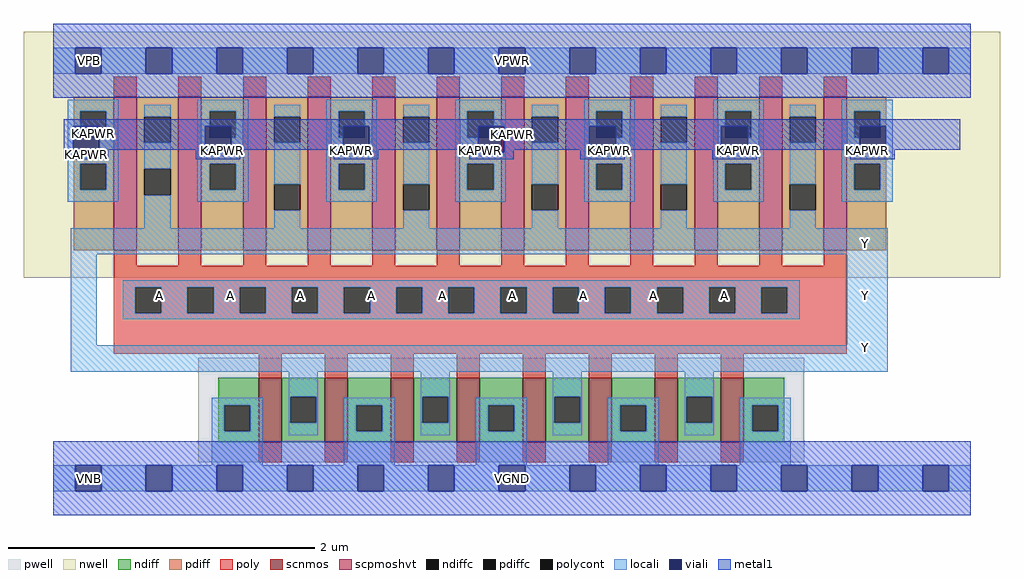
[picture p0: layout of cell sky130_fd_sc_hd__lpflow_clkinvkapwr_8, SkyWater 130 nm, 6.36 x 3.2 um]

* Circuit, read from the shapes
.subckt sky130_fd_sc_hd__lpflow_clkinvkapwr_8 A KAPWR VGND VNB VPB VPWR Y
XM1 Y A VGND VNB sky130_fd_pr__nfet_01v8 w=0.42 l=0.15 m=8
XM2 Y A KAPWR VPB sky130_fd_pr__pfet_01v8_hvt w=1 l=0.15 m=12
.ends

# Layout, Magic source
magic
tech sky130A
magscale 1 2
<< nwell >>
rect -38 261 1234 582
<< pwell >>
rect 189 21 979 157
rect 30 -17 64 17
<< scnmos >>
rect 268 47 298 131
rect 354 47 384 131
rect 440 47 470 131
rect 526 47 556 131
rect 612 47 642 131
rect 698 47 728 131
rect 784 47 814 131
rect 870 47 900 131
<< scpmoshvt >>
rect 79 297 109 497
rect 163 297 193 497
rect 248 297 278 497
rect 332 297 362 497
rect 416 297 446 497
rect 500 297 530 497
rect 584 297 614 497
rect 668 297 698 497
rect 752 297 782 497
rect 836 297 866 497
rect 920 297 950 497
rect 1004 297 1034 497
<< ndiff >>
rect 215 95 268 131
rect 215 61 223 95
rect 257 61 268 95
rect 215 47 268 61
rect 298 106 354 131
rect 298 72 309 106
rect 343 72 354 106
rect 298 47 354 72
rect 384 95 440 131
rect 384 61 395 95
rect 429 61 440 95
rect 384 47 440 61
rect 470 106 526 131
rect 470 72 481 106
rect 515 72 526 106
rect 470 47 526 72
rect 556 95 612 131
rect 556 61 567 95
rect 601 61 612 95
rect 556 47 612 61
rect 642 106 698 131
rect 642 72 653 106
rect 687 72 698 106
rect 642 47 698 72
rect 728 95 784 131
rect 728 61 739 95
rect 773 61 784 95
rect 728 47 784 61
rect 814 106 870 131
rect 814 72 825 106
rect 859 72 870 106
rect 814 47 870 72
rect 900 95 953 131
rect 900 61 911 95
rect 945 61 953 95
rect 900 47 953 61
<< pdiff >>
rect 27 478 79 497
rect 27 444 35 478
rect 69 444 79 478
rect 27 410 79 444
rect 27 376 35 410
rect 69 376 79 410
rect 27 297 79 376
rect 109 471 163 497
rect 109 437 119 471
rect 153 437 163 471
rect 109 403 163 437
rect 109 369 119 403
rect 153 369 163 403
rect 109 297 163 369
rect 193 478 248 497
rect 193 444 204 478
rect 238 444 248 478
rect 193 410 248 444
rect 193 376 204 410
rect 238 376 248 410
rect 193 297 248 376
rect 278 471 332 497
rect 278 437 288 471
rect 322 437 332 471
rect 278 383 332 437
rect 278 349 288 383
rect 322 349 332 383
rect 278 297 332 349
rect 362 478 416 497
rect 362 444 372 478
rect 406 444 416 478
rect 362 410 416 444
rect 362 376 372 410
rect 406 376 416 410
rect 362 297 416 376
rect 446 471 500 497
rect 446 437 456 471
rect 490 437 500 471
rect 446 383 500 437
rect 446 349 456 383
rect 490 349 500 383
rect 446 297 500 349
rect 530 478 584 497
rect 530 444 540 478
rect 574 444 584 478
rect 530 410 584 444
rect 530 376 540 410
rect 574 376 584 410
rect 530 297 584 376
rect 614 471 668 497
rect 614 437 624 471
rect 658 437 668 471
rect 614 383 668 437
rect 614 349 624 383
rect 658 349 668 383
rect 614 297 668 349
rect 698 478 752 497
rect 698 444 708 478
rect 742 444 752 478
rect 698 410 752 444
rect 698 376 708 410
rect 742 376 752 410
rect 698 297 752 376
rect 782 471 836 497
rect 782 437 792 471
rect 826 437 836 471
rect 782 383 836 437
rect 782 349 792 383
rect 826 349 836 383
rect 782 297 836 349
rect 866 478 920 497
rect 866 444 876 478
rect 910 444 920 478
rect 866 410 920 444
rect 866 376 876 410
rect 910 376 920 410
rect 866 297 920 376
rect 950 471 1004 497
rect 950 437 960 471
rect 994 437 1004 471
rect 950 383 1004 437
rect 950 349 960 383
rect 994 349 1004 383
rect 950 297 1004 349
rect 1034 478 1086 497
rect 1034 444 1044 478
rect 1078 444 1086 478
rect 1034 410 1086 444
rect 1034 376 1044 410
rect 1078 376 1086 410
rect 1034 297 1086 376
<< ndiffc >>
rect 223 61 257 95
rect 309 72 343 106
rect 395 61 429 95
rect 481 72 515 106
rect 567 61 601 95
rect 653 72 687 106
rect 739 61 773 95
rect 825 72 859 106
rect 911 61 945 95
<< pdiffc >>
rect 35 444 69 478
rect 35 376 69 410
rect 119 437 153 471
rect 119 369 153 403
rect 204 444 238 478
rect 204 376 238 410
rect 288 437 322 471
rect 288 349 322 383
rect 372 444 406 478
rect 372 376 406 410
rect 456 437 490 471
rect 456 349 490 383
rect 540 444 574 478
rect 540 376 574 410
rect 624 437 658 471
rect 624 349 658 383
rect 708 444 742 478
rect 708 376 742 410
rect 792 437 826 471
rect 792 349 826 383
rect 876 444 910 478
rect 876 376 910 410
rect 960 437 994 471
rect 960 349 994 383
rect 1044 444 1078 478
rect 1044 376 1078 410
<< poly >>
rect 79 497 109 523
rect 163 497 193 523
rect 248 497 278 523
rect 332 497 362 523
rect 416 497 446 523
rect 500 497 530 523
rect 584 497 614 523
rect 668 497 698 523
rect 752 497 782 523
rect 836 497 866 523
rect 920 497 950 523
rect 1004 497 1034 523
rect 79 277 109 297
rect 163 277 193 297
rect 248 277 278 297
rect 332 277 362 297
rect 416 277 446 297
rect 500 277 530 297
rect 584 277 614 297
rect 668 277 698 297
rect 752 277 782 297
rect 836 277 866 297
rect 920 277 950 297
rect 1004 277 1034 297
rect 79 249 1034 277
rect 79 215 107 249
rect 141 215 175 249
rect 209 215 243 249
rect 277 215 311 249
rect 345 215 379 249
rect 413 215 447 249
rect 481 215 515 249
rect 549 215 583 249
rect 617 215 651 249
rect 685 215 719 249
rect 753 215 787 249
rect 821 215 855 249
rect 889 215 923 249
rect 957 215 1034 249
rect 79 162 1034 215
rect 268 131 298 162
rect 354 131 384 162
rect 440 131 470 162
rect 526 131 556 162
rect 612 131 642 162
rect 698 131 728 162
rect 784 131 814 162
rect 870 131 900 162
rect 268 21 298 47
rect 354 21 384 47
rect 440 21 470 47
rect 526 21 556 47
rect 612 21 642 47
rect 698 21 728 47
rect 784 21 814 47
rect 870 21 900 47
<< polycont >>
rect 107 215 141 249
rect 175 215 209 249
rect 243 215 277 249
rect 311 215 345 249
rect 379 215 413 249
rect 447 215 481 249
rect 515 215 549 249
rect 583 215 617 249
rect 651 215 685 249
rect 719 215 753 249
rect 787 215 821 249
rect 855 215 889 249
rect 923 215 957 249
<< locali >>
rect 0 527 29 561
rect 63 527 121 561
rect 155 527 213 561
rect 247 527 305 561
rect 339 527 397 561
rect 431 527 489 561
rect 523 527 581 561
rect 615 527 673 561
rect 707 527 765 561
rect 799 527 857 561
rect 891 527 949 561
rect 983 527 1041 561
rect 1075 527 1133 561
rect 1167 527 1196 561
rect 19 478 85 493
rect 19 459 35 478
rect 19 425 26 459
rect 69 444 85 478
rect 60 425 85 444
rect 19 410 85 425
rect 19 376 35 410
rect 69 376 85 410
rect 19 360 85 376
rect 119 471 153 487
rect 119 403 153 437
rect 119 326 153 369
rect 188 478 254 493
rect 188 459 204 478
rect 188 425 198 459
rect 238 444 254 478
rect 232 425 254 444
rect 188 410 254 425
rect 188 376 204 410
rect 238 376 254 410
rect 188 360 254 376
rect 288 471 322 487
rect 288 383 322 437
rect 356 478 422 493
rect 356 444 372 478
rect 406 459 422 478
rect 356 425 378 444
rect 412 425 422 459
rect 356 410 422 425
rect 356 376 372 410
rect 406 376 422 410
rect 356 360 422 376
rect 456 471 490 487
rect 456 383 490 437
rect 288 326 322 349
rect 524 478 590 493
rect 524 444 540 478
rect 574 459 590 478
rect 524 425 554 444
rect 588 425 590 459
rect 524 410 590 425
rect 524 376 540 410
rect 574 376 590 410
rect 524 360 590 376
rect 624 471 658 487
rect 624 383 658 437
rect 456 326 490 349
rect 692 478 758 493
rect 692 459 708 478
rect 692 425 699 459
rect 742 444 758 478
rect 733 425 758 444
rect 692 410 758 425
rect 692 376 708 410
rect 742 376 758 410
rect 692 360 758 376
rect 792 471 826 487
rect 792 383 826 437
rect 624 326 658 349
rect 860 478 926 493
rect 860 459 876 478
rect 860 425 871 459
rect 910 444 926 478
rect 905 425 926 444
rect 860 410 926 425
rect 860 376 876 410
rect 910 376 926 410
rect 860 360 926 376
rect 960 471 994 487
rect 960 383 994 437
rect 792 326 826 349
rect 1028 478 1094 493
rect 1028 444 1044 478
rect 1078 459 1094 478
rect 1028 425 1051 444
rect 1085 425 1094 459
rect 1028 410 1094 425
rect 1028 376 1044 410
rect 1078 376 1094 410
rect 1028 360 1094 376
rect 960 326 994 349
rect 23 292 1088 326
rect 23 173 57 292
rect 91 249 973 258
rect 91 215 107 249
rect 141 215 175 249
rect 209 215 243 249
rect 277 215 311 249
rect 345 215 379 249
rect 413 215 447 249
rect 481 215 515 249
rect 549 215 583 249
rect 617 215 651 249
rect 685 215 719 249
rect 753 215 787 249
rect 821 215 855 249
rect 889 215 923 249
rect 957 215 973 249
rect 91 207 973 215
rect 1034 173 1088 292
rect 23 139 1088 173
rect 307 106 345 139
rect 207 95 273 105
rect 207 61 223 95
rect 257 61 273 95
rect 207 17 273 61
rect 307 72 309 106
rect 343 72 345 106
rect 479 106 517 139
rect 307 56 345 72
rect 379 95 445 105
rect 379 61 395 95
rect 429 61 445 95
rect 379 17 445 61
rect 479 72 481 106
rect 515 72 517 106
rect 651 106 689 139
rect 479 56 517 72
rect 551 95 617 105
rect 551 61 567 95
rect 601 61 617 95
rect 551 17 617 61
rect 651 72 653 106
rect 687 72 689 106
rect 823 106 861 139
rect 651 56 689 72
rect 723 95 789 105
rect 723 61 739 95
rect 773 61 789 95
rect 723 17 789 61
rect 823 72 825 106
rect 859 72 861 106
rect 823 56 861 72
rect 895 95 961 105
rect 895 61 911 95
rect 945 61 961 95
rect 895 17 961 61
rect 0 -17 29 17
rect 63 -17 121 17
rect 155 -17 213 17
rect 247 -17 305 17
rect 339 -17 397 17
rect 431 -17 489 17
rect 523 -17 581 17
rect 615 -17 673 17
rect 707 -17 765 17
rect 799 -17 857 17
rect 891 -17 949 17
rect 983 -17 1041 17
rect 1075 -17 1133 17
rect 1167 -17 1196 17
<< viali >>
rect 29 527 63 561
rect 121 527 155 561
rect 213 527 247 561
rect 305 527 339 561
rect 397 527 431 561
rect 489 527 523 561
rect 581 527 615 561
rect 673 527 707 561
rect 765 527 799 561
rect 857 527 891 561
rect 949 527 983 561
rect 1041 527 1075 561
rect 1133 527 1167 561
rect 26 444 35 459
rect 35 444 60 459
rect 26 425 60 444
rect 198 444 204 459
rect 204 444 232 459
rect 198 425 232 444
rect 378 444 406 459
rect 406 444 412 459
rect 378 425 412 444
rect 554 444 574 459
rect 574 444 588 459
rect 554 425 588 444
rect 699 444 708 459
rect 708 444 733 459
rect 699 425 733 444
rect 871 444 876 459
rect 876 444 905 459
rect 871 425 905 444
rect 1051 444 1078 459
rect 1078 444 1085 459
rect 1051 425 1085 444
rect 29 -17 63 17
rect 121 -17 155 17
rect 213 -17 247 17
rect 305 -17 339 17
rect 397 -17 431 17
rect 489 -17 523 17
rect 581 -17 615 17
rect 673 -17 707 17
rect 765 -17 799 17
rect 857 -17 891 17
rect 949 -17 983 17
rect 1041 -17 1075 17
rect 1133 -17 1167 17
<< metal1 >>
rect 0 561 1196 592
rect 0 527 29 561
rect 63 527 121 561
rect 155 527 213 561
rect 247 527 305 561
rect 339 527 397 561
rect 431 527 489 561
rect 523 527 581 561
rect 615 527 673 561
rect 707 527 765 561
rect 799 527 857 561
rect 891 527 949 561
rect 983 527 1041 561
rect 1075 527 1133 561
rect 1167 527 1196 561
rect 0 496 1196 527
rect 14 459 1182 468
rect 14 425 26 459
rect 60 428 198 459
rect 60 425 72 428
rect 14 416 72 425
rect 186 425 198 428
rect 232 428 378 459
rect 232 425 244 428
rect 186 416 244 425
rect 366 425 378 428
rect 412 428 554 459
rect 412 425 424 428
rect 366 416 424 425
rect 542 425 554 428
rect 588 428 699 459
rect 588 425 600 428
rect 542 416 600 425
rect 687 425 699 428
rect 733 428 871 459
rect 733 425 745 428
rect 687 416 745 425
rect 859 425 871 428
rect 905 428 1051 459
rect 905 425 917 428
rect 859 416 917 425
rect 1039 425 1051 428
rect 1085 428 1182 459
rect 1085 425 1097 428
rect 1039 416 1097 425
rect 0 17 1196 48
rect 0 -17 29 17
rect 63 -17 121 17
rect 155 -17 213 17
rect 247 -17 305 17
rect 339 -17 397 17
rect 431 -17 489 17
rect 523 -17 581 17
rect 615 -17 673 17
rect 707 -17 765 17
rect 799 -17 857 17
rect 891 -17 949 17
rect 983 -17 1041 17
rect 1075 -17 1133 17
rect 1167 -17 1196 17
rect 0 -48 1196 -17
<< labels >>
flabel locali s 1042 289 1076 323 0 FreeSans 400 0 0 0 Y
port 7 nsew signal output
flabel locali s 1042 221 1076 255 0 FreeSans 400 0 0 0 Y
port 7 nsew signal output
flabel locali s 1042 153 1076 187 0 FreeSans 400 0 0 0 Y
port 7 nsew signal output
flabel locali s 490 221 524 255 0 FreeSans 400 0 0 0 A
port 1 nsew signal input
flabel locali s 398 221 432 255 0 FreeSans 400 0 0 0 A
port 1 nsew signal input
flabel locali s 306 221 340 255 0 FreeSans 400 0 0 0 A
port 1 nsew signal input
flabel locali s 214 221 248 255 0 FreeSans 400 0 0 0 A
port 1 nsew signal input
flabel locali s 858 221 892 255 0 FreeSans 400 0 0 0 A
port 1 nsew signal input
flabel locali s 766 221 800 255 0 FreeSans 400 0 0 0 A
port 1 nsew signal input
flabel locali s 674 221 708 255 0 FreeSans 400 0 0 0 A
port 1 nsew signal input
flabel locali s 582 221 616 255 0 FreeSans 400 0 0 0 A
port 1 nsew signal input
flabel locali s 122 221 156 255 0 FreeSans 400 0 0 0 A
port 1 nsew signal input
flabel pwell s 30 -17 64 17 0 FreeSans 200 0 0 0 VNB
port 4 nsew ground bidirectional
flabel nwell s 30 527 64 561 0 FreeSans 200 0 0 0 VPB
port 5 nsew power bidirectional
flabel metal1 s 34 432 72 466 0 FreeSans 200 0 0 0 KAPWR
port 2 nsew power bidirectional abutment
flabel metal1 s 30 -17 64 17 0 FreeSans 200 0 0 0 VGND
port 3 nsew ground bidirectional abutment
flabel metal1 s 30 527 64 561 0 FreeSans 200 0 0 0 VPWR
port 6 nsew power bidirectional abutment
rlabel comment s 0 0 0 0 4 lpflow_clkinvkapwr_8
rlabel locali s 188 360 254 493 1 KAPWR
port 2 nsew power bidirectional abutment
rlabel locali s 356 360 422 493 1 KAPWR
port 2 nsew power bidirectional abutment
rlabel locali s 524 360 590 493 1 KAPWR
port 2 nsew power bidirectional abutment
rlabel locali s 692 360 758 493 1 KAPWR
port 2 nsew power bidirectional abutment
rlabel locali s 860 360 926 493 1 KAPWR
port 2 nsew power bidirectional abutment
rlabel locali s 1028 360 1094 493 1 KAPWR
port 2 nsew power bidirectional abutment
rlabel metal1 s 1039 416 1097 428 1 KAPWR
port 2 nsew power bidirectional abutment
rlabel metal1 s 859 416 917 428 1 KAPWR
port 2 nsew power bidirectional abutment
rlabel metal1 s 687 416 745 428 1 KAPWR
port 2 nsew power bidirectional abutment
rlabel metal1 s 542 416 600 428 1 KAPWR
port 2 nsew power bidirectional abutment
rlabel metal1 s 366 416 424 428 1 KAPWR
port 2 nsew power bidirectional abutment
rlabel metal1 s 186 416 244 428 1 KAPWR
port 2 nsew power bidirectional abutment
rlabel metal1 s 14 428 1182 468 1 KAPWR
port 2 nsew power bidirectional abutment
rlabel metal1 s 14 416 72 428 1 KAPWR
port 2 nsew power bidirectional abutment
rlabel metal1 s 0 -48 1196 48 1 VGND
port 3 nsew ground bidirectional abutment
rlabel metal1 s 0 496 1196 592 1 VPWR
port 6 nsew power bidirectional abutment
<< properties >>
string FIXED_BBOX 0 0 1196 544
string GDS_END 2302754
string GDS_FILE $PDKPATH/libs.ref/sky130_fd_sc_hd/gds/sky130_fd_sc_hd.gds
string GDS_START 2292286
string LEFclass CORE
string LEFsite unithd
string LEFsymmetry X Y R90
string path 0.000 0.000 29.900 0.000 
<< end >>
